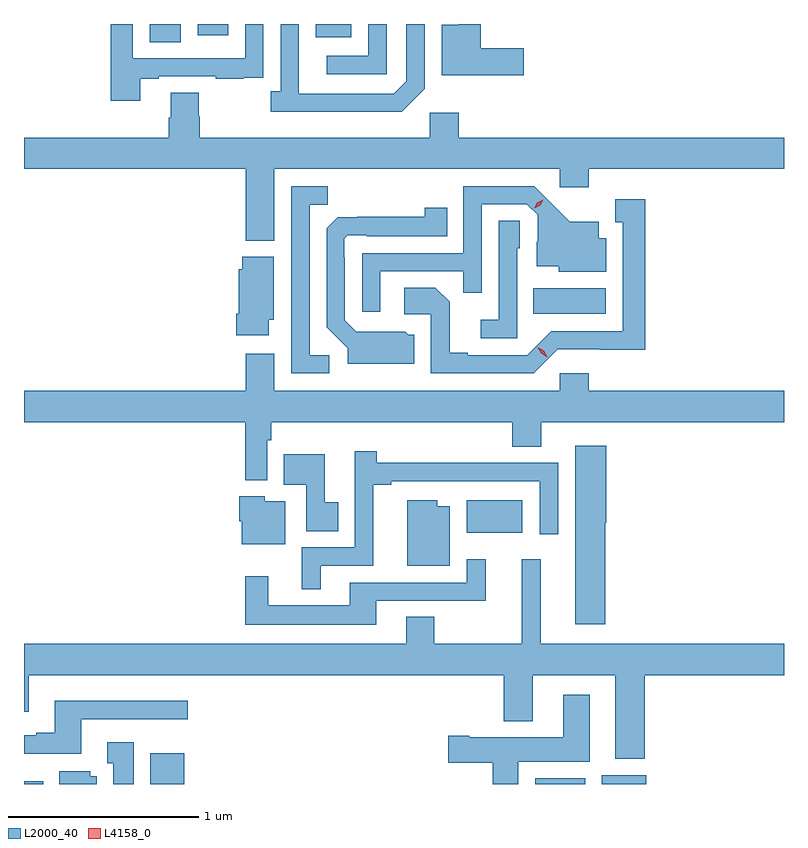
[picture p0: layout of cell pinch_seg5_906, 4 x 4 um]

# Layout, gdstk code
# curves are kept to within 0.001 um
import gdstk
lib = gdstk.Library(unit=1e-6, precision=1e-09)
def R(c, l, rs):  # rectangles x0, y0, x1, y1
    for r in rs: c.add(gdstk.rectangle(r[:2], r[2:], *l))
def P(c, l, *ps):  # polygons
    for p in ps: c.add(gdstk.Polygon(p, *l))
L2000_40 = (2000, 40)
L4158_0 = (4158, 0)

pinch_seg5_906 = lib.new_cell('pinch_seg5_906')
R(pinch_seg5_906, L2000_40, [(745.188,889.487,745.288,889.501), (745.853,889.487,746.032,889.648), (747.878,889.487,748.141,889.516), (748.229,889.487,748.462,889.534), (747.518,890.81,747.811,890.98), (747.868,891.962,748.249,892.096), (745.85,893.392,746.014,893.487), (746.723,893.417,746.911,893.487), (746.102,893.427,746.263,893.487)])
P(pinch_seg5_906, L2000_40, [(747.096,893.487),(747,893.487),(747,893.319),(746.781,893.319),(746.781,893.223),(747.096,893.223)],
  [(745.801,893.199),(745.897,893.199),(745.897,893.211),(746.197,893.211),(746.197,893.199),(746.345,893.199),(746.345,893.205),(746.447,893.205),(746.447,893.314),(746.448,893.314),(746.448,893.487),(746.352,893.487),(746.352,893.307),(745.761,893.307),(745.761,893.487),(745.645,893.487),(745.645,893.082),(745.801,893.082)],
  [(747.817,893.36),(747.593,893.36),(747.593,893.487),(747.476,893.487),(747.476,893.482),(747.386,893.482),(747.386,893.218),(747.817,893.218)],
  [(747.297,893.145),(747.297,893.487),(747.201,893.487),(747.201,893.187),(747.135,893.121),(746.635,893.121),(746.634,893.487),(746.538,893.487),(746.538,893.134),(746.487,893.134),(746.487,893.024),(747.176,893.024)],
  [(746.506,892.724),(748.008,892.724),(748.008,892.629),(748.16,892.629),(748.16,892.724),(749.188,892.724),(749.188,892.888),(747.476,892.888),(747.476,893.02),(747.324,893.02),(747.324,892.888),(746.114,892.888),(746.114,893.001),(746.109,893.001),(746.109,893.126),(745.961,893.126),(745.961,892.994),(745.949,892.994),(745.949,892.888),(745.188,892.888),(745.188,892.724),(746.354,892.724),(746.354,892.346),(746.506,892.346)],
  [(747.063,892.185),(747.499,892.185),(747.499,892.072),(747.597,892.072),(747.597,892.539),(747.834,892.539),(747.891,892.482),(747.891,892.34),(747.887,892.34),(747.887,892.211),(748.002,892.211),(748.002,892.184),(748.252,892.184),(748.252,892.36),(748.213,892.36),(748.213,892.447),(748.061,892.447),(747.874,892.632),(747.501,892.632),(747.501,892.281),(746.967,892.281),(746.967,891.972),(747.063,891.972)],
  [(746.794,891.744),(746.691,891.744),(746.691,892.537),(746.787,892.537),(746.787,892.632),(746.595,892.632),(746.595,891.648),(746.794,891.648)],
  [(747.996,891.774),(748.459,891.773),(748.459,892.564),(748.301,892.564),(748.301,892.443),(748.34,892.443),(748.34,891.87),(747.963,891.87),(747.837,891.744),(747.523,891.744),(747.523,891.757),(747.429,891.757),(747.429,892.024),(747.353,892.1),(747.189,892.1),(747.189,891.96),(747.33,891.96),(747.33,891.648),(747.87,891.648)],
  [(747.241,891.852),(747.21,891.852),(747.194,891.868),(746.937,891.867),(746.877,891.927),(746.877,892.256),(746.874,892.256),(746.874,892.356),(746.892,892.374),(746.992,892.374),(746.992,892.371),(747.416,892.371),(747.416,892.519),(747.298,892.519),(747.298,892.472),(746.84,892.471),(746.781,892.412),(746.781,891.89),(746.891,891.78),(746.891,891.698),(747.241,891.698)],
  [(747.783,892.308),(747.798,892.308),(747.798,892.451),(747.687,892.451),(747.687,891.931),(747.591,891.931),(747.591,891.834),(747.783,891.834)],
  [(746.476,891.93),(746.503,891.93),(746.503,892.261),(746.336,892.261),(746.336,892.197),(746.318,892.197),(746.318,891.961),(746.306,891.961),(746.306,891.849),(746.476,891.849)],
  [(746.469,891.296),(746.489,891.296),(746.489,891.392),(747.758,891.392),(747.758,891.262),(747.91,891.262),(747.91,891.392),(749.188,891.392),(749.188,891.556),(748.16,891.556),(748.16,891.649),(748.008,891.649),(748.008,891.556),(746.506,891.556),(746.506,891.751),(746.354,891.751),(746.354,891.556),(745.188,891.556),(745.188,891.392),(746.353,891.392),(746.353,891.086),(746.469,891.086)],
  [(748.247,890.862),(748.252,890.862),(748.252,891.268),(748.088,891.268),(748.088,890.328),(748.247,890.328)],
  [(746.749,890.637),(747.026,890.637),(747.026,891.061),(747.121,891.061),(747.121,891.081),(747.903,891.081),(747.903,890.802),(747.999,890.802),(747.999,891.177),(747.674,891.177),(747.674,891.179),(747.044,891.179),(747.044,891.238),(746.928,891.238),(746.928,890.733),(746.651,890.733),(746.651,890.513),(746.749,890.513)],
  [(746.843,890.97),(746.77,890.97),(746.77,891.223),(746.554,891.223),(746.554,891.062),(746.673,891.062),(746.673,890.818),(746.843,890.818)],
  [(746.563,890.974),(746.454,890.974),(746.454,891.001),(746.321,891.001),(746.321,890.87),(746.333,890.87),(746.333,890.75),(746.563,890.75)],
  [(747.43,890.95),(747.364,890.95),(747.364,890.98),(747.206,890.98),(747.206,890.636),(747.43,890.636)],
  [(748.454,890.06),(749.188,890.06),(749.188,890.224),(747.908,890.224),(747.908,890.671),(747.809,890.671),(747.809,890.224),(747.348,890.224),(747.348,890.366),(747.2,890.366),(747.2,890.224),(745.188,890.224),(745.188,889.866),(745.213,889.866),(745.213,890.06),(747.713,890.06),(747.713,889.817),(747.865,889.817),(747.865,890.06),(748.301,890.06),(748.301,889.619),(748.454,889.619)],
  [(747.043,890.451),(747.617,890.451),(747.617,890.671),(747.519,890.671),(747.519,890.547),(746.903,890.547),(746.903,890.428),(746.473,890.428),(746.473,890.581),(746.352,890.581),(746.352,890.324),(747.043,890.324)],
  [(747.79,889.604),(748.165,889.604),(748.165,889.957),(748.025,889.957),(748.025,889.732),(747.532,889.732),(747.532,889.74),(747.42,889.74),(747.42,889.598),(747.656,889.598),(747.656,889.487),(747.79,889.487)],
  [(745.489,889.827),(746.05,889.827),(746.05,889.924),(745.349,889.924),(745.349,889.756),(745.253,889.756),(745.253,889.743),(745.188,889.743),(745.188,889.646),(745.489,889.646)],
  [(745.765,889.708),(745.625,889.708),(745.625,889.595),(745.658,889.595),(745.658,889.487),(745.765,889.487)],
  [(745.57,889.528),(745.536,889.528),(745.536,889.555),(745.373,889.555),(745.373,889.487),(745.57,889.487)])
P(pinch_seg5_906, L4158_0, [(747.873,892.516),(747.873,892.516),(747.89,892.546),(747.921,892.561),(747.922,892.561),(747.922,892.561),(747.904,892.532),(747.873,892.516)],
  [(747.941,891.734),(747.91,891.753),(747.893,891.786),(747.893,891.786),(747.893,891.786),(747.924,891.767),(747.942,891.735),(747.942,891.734)])

lib.write_gds('pinch_seg5_906.gds')
